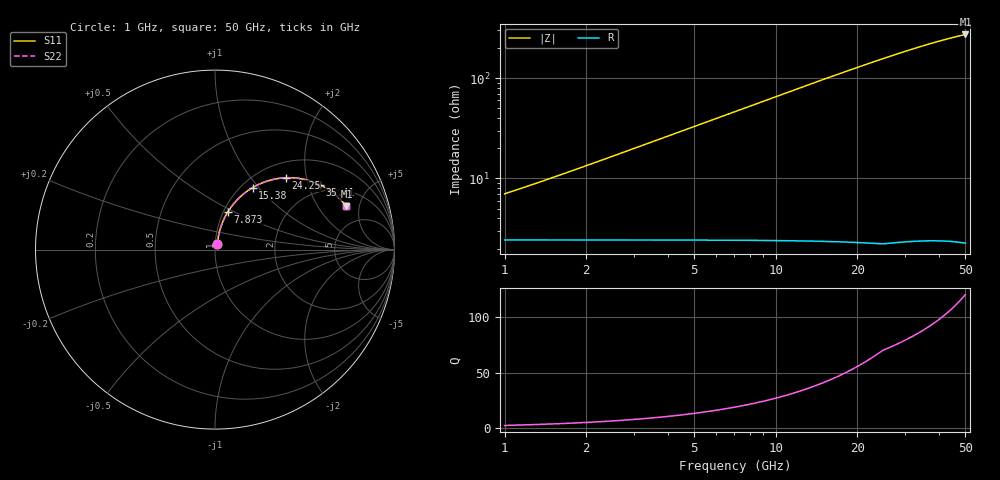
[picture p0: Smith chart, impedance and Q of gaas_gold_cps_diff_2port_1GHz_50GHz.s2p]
# Hz S RI R 100
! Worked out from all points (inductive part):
!   10000 points, 1 GHz to 50 GHz, reference 100 ohm
!   read as one part in series: L = 1.05 nH near 1.111 GHz
!   highest Q = 120 at 50 GHz (marker M1), where L = 867 pH
!   S11 on the Smith chart (normalised r, x): 1 GHz: 1.02, +0.06; 7.873 GHz: 1.05, +0.47; 15.38 GHz: 1.13, +0.93; 24.25 GHz: 1.30, +1.52; 35.41 GHz: 1.74, +2.37; 50 GHz: 3.14, +3.71
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1e9  0.0131 0.0288  0.9869 -0.0355  0.9869 -0.0355  0.0131 0.0288
1.245924e9  0.0137 0.0358  0.9863 -0.0442  0.9863 -0.0442  0.0137 0.0358
1.474771e9  0.0143 0.0424  0.9857 -0.0522  0.9857 -0.0522  0.0143 0.0424
2.015978e9  0.0162 0.0578  0.9837 -0.0713  0.9837 -0.0713  0.0162 0.0578
2.664615e9  0.0194 0.0762  0.9805 -0.094  0.9805 -0.094  0.0194 0.0762
3.428145e9  0.0241 0.0975  0.9757 -0.1204  0.9757 -0.1204  0.0241 0.0975
4.32502e9  0.0311 0.122  0.9685 -0.1509  0.9685 -0.1509  0.0311 0.122
5.359212e9  0.041 0.1495  0.9584 -0.1853  0.9584 -0.1853  0.041 0.1495
6.540142e9  0.0546 0.1796  0.9445 -0.2233  0.9445 -0.2233  0.0546 0.1796
7.872749e9  0.0725 0.2117  0.9261 -0.2643  0.9261 -0.2643  0.0725 0.2117
9.166909e9  0.0924 0.2407  0.9057 -0.302  0.9057 -0.302  0.0924 0.2407
1.202191e10  0.1429 0.2962  0.8539 -0.3767  0.8539 -0.3767  0.1429 0.2962
1.538222e10  0.2102 0.3458  0.7844 -0.4491  0.7844 -0.4491  0.2102 0.3458
1.733855e10  0.2514 0.3668  0.7418 -0.4834  0.7418 -0.4834  0.2514 0.3668
2.068445e10  0.3221 0.3903  0.6681 -0.5299  0.6681 -0.5299  0.3221 0.3903
2.424539e10  0.3947 0.4003  0.5917 -0.5646  0.5917 -0.5646  0.3947 0.4003
2.550046e10  0.4191 0.4006  0.5657 -0.5737  0.5657 -0.5737  0.4191 0.4006
2.935736e10  0.4893 0.3928  0.4903 -0.5932  0.4903 -0.5932  0.4893 0.3928
3.367882e10  0.5583 0.3725  0.4144 -0.6039  0.4144 -0.6039  0.5583 0.3725
3.540836e10  0.583 0.3617  0.3866 -0.6058  0.3866 -0.6058  0.583 0.3617
4.18465e10  0.661 0.3132  0.2952 -0.6054  0.2952 -0.6054  0.661 0.3132
5e10  0.732 0.2404  0.2021 -0.5963  0.2021 -0.5963  0.732 0.2404
